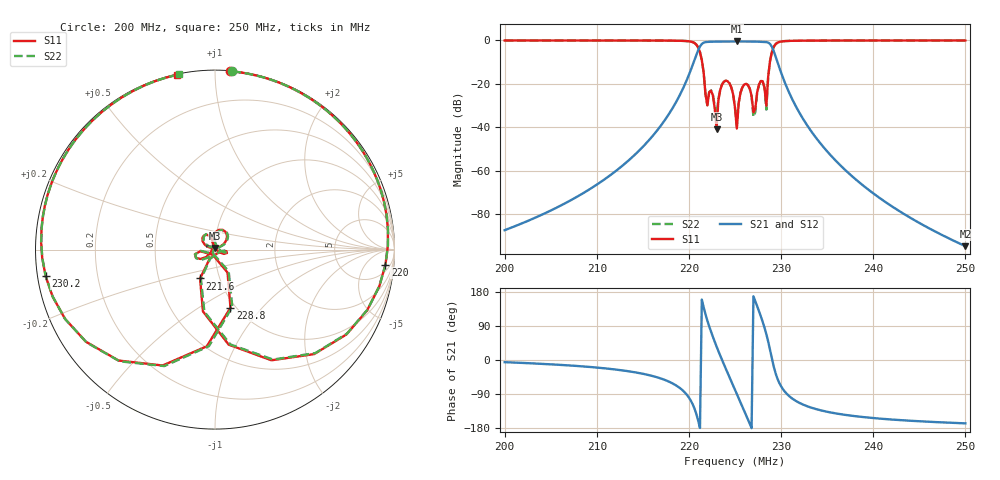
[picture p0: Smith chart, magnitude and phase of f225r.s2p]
! Touchstone file exported from HFSS 2018.2.0
# GHZ S MA R 50.000000
! Modal data exported
! Port[1] = 1:1
! Port[2] = 2:1
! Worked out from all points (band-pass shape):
!   251 points, 200 MHz to 250 MHz, reference 50 ohm
!   highest |S21| = -0.48 dB at 225.2 MHz (marker M1); lowest = -94.9 dB at 250 MHz (marker M2)
!   |S21| within 3 dB of the highest: 221.1 MHz to 229.1 MHz (7.936 MHz wide, 3.53 % of centre)
!   lowest |S11| = -40.9 dB at 223 MHz (marker M3), VSWR 1.02, Z = 50 + j0.9 ohm
!   |S11| at or under -10 dB: 221.4 MHz to 228.8 MHz (7.355 MHz wide, 3.27 % of centre)
!   |S22| runs from -39.3 to 0.0 dB; largest |S21 - S12| = 2e-14
!   S11 on the Smith chart (normalised r, x): 200 MHz: 0.00, +1.09; 220 MHz: 9, -17; 221.6 MHz: 0.81, -0.27; 228.8 MHz: 0.94, -0.69; 230.2 MHz: 0.02, -0.08; 250 MHz: 0.00, +0.80
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0.2  0.9974 85.2  4.211e-05 -5.7  4.211e-05 -5.7  0.9974 84.5
! Gamma ! 0 0 0 0
! Port Impedance50 0 50 0
0.2084  0.9969 74.4  0.00029 -16.7  0.00029 -16.7  0.9969 73.8
0.2168  0.9921 44.7  0.00982 -47.5  0.00982 -47.5  0.9922 44.3
0.22  0.9533 -5.1  0.161 -99.2  0.161 -99.2  0.9537 -5.0
0.221  0.6922 -63.0  0.5932 -159.4  0.5932 -159.4  0.6929 -62.2
0.2216  0.1811 -117.4  0.889 139.1  0.889 139.1  0.1815 -115.6
0.222  0.03185 -16.4  0.9245 103.9  0.9245 103.9  0.03221 -14.1
0.2226  0.05436 -26.0  0.9352 61.2  0.9352 61.2  0.05612 -16.9
0.223  0.009018 92.4  0.9401 35.6  0.9401 35.6  0.01854 58.6
0.2238  0.112 79.1  0.9388 -11.7  0.9388 -11.7  0.1127 72.9
0.225  0.02765 30.0  0.9462 -78.1  0.9462 -78.1  0.02821 28.9
0.2252  0.00931 124.0  0.9465 -89.2  0.9465 -89.2  0.01087 114.8
0.226  0.09599 137.1  0.9412 -133.7  0.9412 -133.7  0.09601 130.9
0.227  0.02198 118.0  0.9407 168.0  0.9407 168.0  0.01725 85.4
0.2278  0.116 -156.7  0.9264 115.4  0.9264 115.4  0.1151 -154.9
0.2284  0.03129 -113.4  0.9147 68.3  0.9147 68.3  0.0253 -111.8
0.2288  0.3351 -75.1  0.8302 26.9  0.8302 26.9  0.3336 -73.2
0.2294  0.819 -131.0  0.4314 -34.7  0.4314 -34.7  0.8181 -130.5
0.2302  0.9552 -171.1  0.1387 -77.0  0.1387 -77.0  0.9548 -171.1
0.2334  0.9895 141.4  0.007368 -126.7  0.007368 -126.7  0.9894 140.8
0.2418  0.9955 112.5  0.0001607 -156.8  0.0001607 -156.8  0.9955 111.8
0.25  0.9966 102.4  1.805e-05 -167.2  1.805e-05 -167.2  0.9966 101.7
